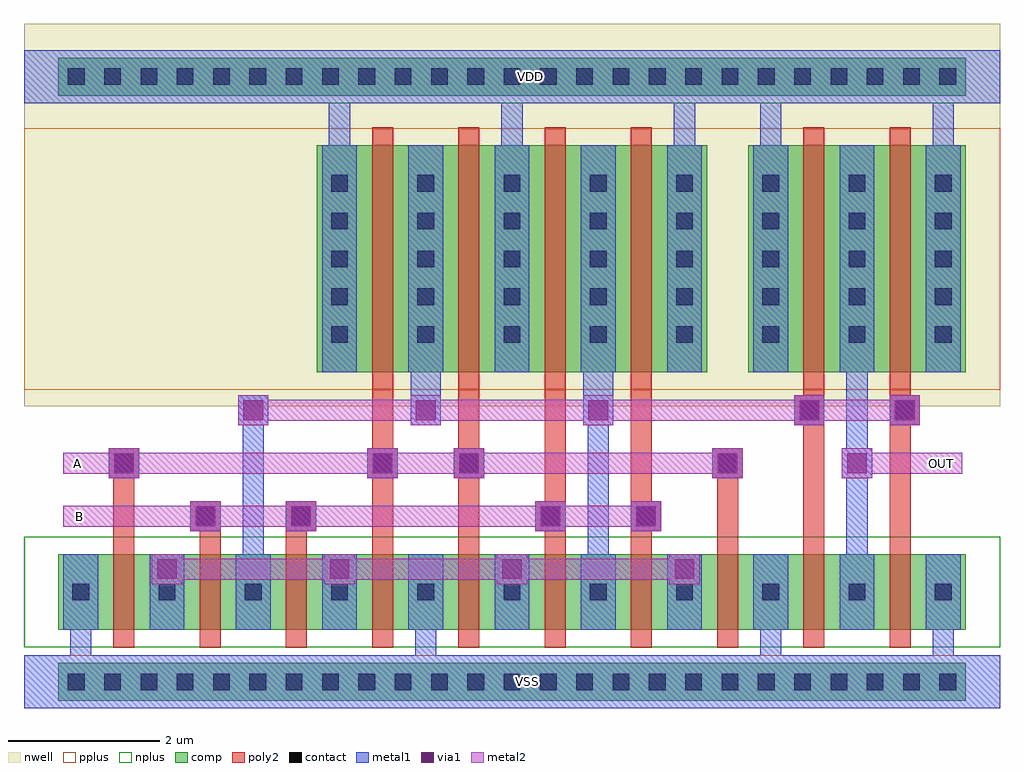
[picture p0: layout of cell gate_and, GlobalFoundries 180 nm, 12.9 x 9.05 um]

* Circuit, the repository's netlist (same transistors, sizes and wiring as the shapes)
** sch_path: /foss/designs/chipathon_2025/designs/gf180/gate_and/xschem/gate_and.sch
.subckt gate_and B VDD VSS OUT A
*.PININFO OUT:O A:I VDD:B VSS:B B:I
MNB OUTN B NX VSS nfet_03v3 L=0.28u W=1u nf=1 m=4
MPB OUTN B VDD VDD pfet_03v3 L=0.28u W=3u nf=1 m=2
MNA NX A VSS VSS nfet_03v3 L=0.28u W=1u nf=1 m=4
MPA OUTN A VDD VDD pfet_03v3 L=0.28u W=3u nf=1 m=2
MIN OUT OUTN VSS VSS nfet_03v3 L=0.28u W=1u nf=1 m=2
MIP OUT OUTN VDD VDD pfet_03v3 L=0.28u W=3u nf=1 m=2
.ends

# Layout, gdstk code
import gdstk
lib = gdstk.Library(unit=1e-6, precision=5e-09)
def R(c, l, rs):  # rectangles x0, y0, x1, y1
    for r in rs: c.add(gdstk.rectangle(r[:2], r[2:], *l))
def A(c, l, x, y, w, h, nx, ny, dx, dy):  # array of equal rectangles
    R(c, l, [(x+i*dx, y+j*dy, x+i*dx+w, y+j*dy+h) for i in range(nx) for j in range(ny)])
nwell = (21, 0)
comp = (22, 0)
poly2 = (30, 0)
pplus = (31, 0)
nplus = (32, 0)
contact = (33, 0)
metal1 = (34, 0)
via1 = (35, 0)
metal2 = (36, 0)

std_cell_frame = lib.new_cell('std_cell_frame')
R(std_cell_frame, nwell, [(0,3.99,3.78,9.05)])
R(std_cell_frame, comp, [(0.45,0.1,3.33,0.6), (0.45,8.1,3.33,8.6)])
R(std_cell_frame, pplus, [(0,0,3.78,0.7), (0,4.21,3.78,7.67)])
R(std_cell_frame, nplus, [(0,0.81,3.78,2.27), (0,8,3.78,8.7)])
A(std_cell_frame, contact, 0.58, 0.24, 0.22, 0.22, 6, 2, 0.48, 8)
std_cell_frame.add(gdstk.FlexPath([(0,0.35),(3.78,0.35)], 0.7, ends="flush", simple_path=True, layer=34, datatype=0))  # metal1
std_cell_frame.add(gdstk.FlexPath([(0,8.35),(3.78,8.35)], 0.7, ends="flush", simple_path=True, layer=34, datatype=0))  # metal1

std_pfet = lib.new_cell('std_pfet')
R(std_pfet, nwell, [(-1.22,-1.86,1.22,1.86)])
R(std_pfet, comp, [(-0.87,-1.5,0.87,1.5)])
R(std_pfet, poly2, [(-0.14,-1.74,0.14,1.74)])
R(std_pfet, pplus, [(-1.1,-1.73,1.1,1.73)])
A(std_pfet, contact, -0.68, -1.11, 0.22, 0.22, 1, 5, 0, 0.5)
A(std_pfet, contact, 0.46, -1.11, 0.22, 0.22, 1, 5, 0, 0.5)
A(std_pfet, metal1, -0.8, -1.23, 0.46, 0.46, 1, 5, 0, 0.5)
A(std_pfet, metal1, 0.34, -1.23, 0.46, 0.46, 1, 5, 0, 0.5)
R(std_pfet, metal1, [(-0.8,-1.5,-0.34,1.5), (0.34,-1.5,0.8,1.5)])

std_pfet_2nf = lib.new_cell('std_pfet_2nf')
R(std_pfet_2nf, nwell, [(-1.79,-1.86,1.79,1.86)])
R(std_pfet_2nf, comp, [(-1.44,-1.5,1.44,1.5)])
R(std_pfet_2nf, poly2, [(-0.71,-1.74,-0.43,1.74), (0.43,-1.74,0.71,1.74)])
R(std_pfet_2nf, pplus, [(-1.67,-1.73,1.67,1.73)])
A(std_pfet_2nf, contact, -1.25, -1.11, 0.22, 0.22, 3, 5, 1.14, 0.5)
A(std_pfet_2nf, metal1, -1.37, -1.5, 0.46, 3, 3, 1, 1.14, 0)
A(std_pfet_2nf, metal1, -1.37, -1.23, 0.46, 0.46, 3, 5, 1.14, 0.5)

via_dev_1 = lib.new_cell('via_dev$1')
R(via_dev_1, metal1, [(0,0,0.4,0.4)])
R(via_dev_1, via1, [(0.07,0.07,0.33,0.33)])
R(via_dev_1, metal2, [(0,0,0.4,0.4)])

std_nfet_2nf = lib.new_cell('std_nfet_2nf')
R(std_nfet_2nf, comp, [(-1.44,-0.5,1.44,0.5)])
R(std_nfet_2nf, poly2, [(-0.71,-0.74,-0.43,0.74), (0.43,-0.74,0.71,0.74)])
R(std_nfet_2nf, nplus, [(-1.67,-0.73,1.67,0.73)])
A(std_nfet_2nf, contact, -1.25, -0.11, 0.22, 0.22, 3, 1, 1.14, 0)
A(std_nfet_2nf, metal1, -1.37, -0.5, 0.46, 1, 3, 1, 1.14, 0)
A(std_nfet_2nf, metal1, -1.37, -0.23, 0.46, 0.46, 3, 1, 1.14, 0)

via_dev = lib.new_cell('via_dev')
R(via_dev, poly2, [(0,0,0.4,0.4)])
R(via_dev, contact, [(0.09,0.09,0.31,0.31)])
R(via_dev, metal1, [(0,0,0.4,0.4)])
R(via_dev, via1, [(0.07,0.07,0.33,0.33)])
R(via_dev, metal2, [(0,0,0.4,0.4)])

gate_and = lib.new_cell('gate_and')
gate_and.add(gdstk.FlexPath([(0.75,2.04),(0.75,0)], 0.28, ends="flush", simple_path=True, layer=34, datatype=0))  # metal1
gate_and.add(gdstk.FlexPath([(5.31,2.04),(5.31,0)], 0.28, ends="flush", simple_path=True, layer=34, datatype=0))  # metal1
gate_and.add(gdstk.FlexPath([(9.87,2.04),(9.87,0)], 0.28, ends="flush", simple_path=True, layer=34, datatype=0))  # metal1
gate_and.add(gdstk.FlexPath([(12.15,2.04),(12.15,0)], 0.28, ends="flush", simple_path=True, layer=34, datatype=0))  # metal1
gate_and.add(gdstk.FlexPath([(5.31,7.44),(5.31,3.74)], 0.4, ends="flush", simple_path=True, layer=34, datatype=0))  # metal1
gate_and.add(gdstk.FlexPath([(7.59,7.44),(7.59,3.74)], 0.4, ends="flush", simple_path=True, layer=34, datatype=0))  # metal1
gate_and.add(gdstk.FlexPath([(4.17,8.7),(4.17,4.44)], 0.28, ends="flush", simple_path=True, layer=34, datatype=0))  # metal1
gate_and.add(gdstk.FlexPath([(6.45,8.7),(6.45,4.44)], 0.28, ends="flush", simple_path=True, layer=34, datatype=0))  # metal1
gate_and.add(gdstk.FlexPath([(8.73,8.7),(8.73,4.44)], 0.28, ends="flush", simple_path=True, layer=34, datatype=0))  # metal1
gate_and.add(gdstk.FlexPath([(9.87,8.7),(9.87,4.44)], 0.28, ends="flush", simple_path=True, layer=34, datatype=0))  # metal1
gate_and.add(gdstk.FlexPath([(12.15,8.7),(12.15,4.44)], 0.28, ends="flush", simple_path=True, layer=34, datatype=0))  # metal1
gate_and.add(gdstk.FlexPath([(3.03,4.14),(3.03,1.04)], 0.28, ends="flush", simple_path=True, layer=34, datatype=0))  # metal1
gate_and.add(gdstk.FlexPath([(7.59,7.44),(7.59,1.04)], 0.28, ends="flush", simple_path=True, layer=34, datatype=0))  # metal1
gate_and.add(gdstk.FlexPath([(11.01,7.44),(11.01,1.04)], 0.28, ends="flush", simple_path=True, layer=34, datatype=0))  # metal1
gate_and.add(gdstk.FlexPath([(4.74,7.68),(4.74,0.8)], 0.28, ends="flush", simple_path=True, layer=30, datatype=0))  # poly2
gate_and.add(gdstk.FlexPath([(5.88,7.68),(5.88,0.8)], 0.28, ends="flush", simple_path=True, layer=30, datatype=0))  # poly2
gate_and.add(gdstk.FlexPath([(7.02,7.68),(7.02,0.8)], 0.28, ends="flush", simple_path=True, layer=30, datatype=0))  # poly2
gate_and.add(gdstk.FlexPath([(8.16,7.68),(8.16,0.8)], 0.28, ends="flush", simple_path=True, layer=30, datatype=0))  # poly2
gate_and.add(gdstk.FlexPath([(10.44,7.68),(10.44,0.8)], 0.28, ends="flush", simple_path=True, layer=30, datatype=0))  # poly2
gate_and.add(gdstk.FlexPath([(11.58,7.68),(11.58,0.8)], 0.28, ends="flush", simple_path=True, layer=30, datatype=0))  # poly2
gate_and.add(gdstk.FlexPath([(1.32,3.44),(1.32,0.8)], 0.28, ends="flush", simple_path=True, layer=30, datatype=0))  # poly2
gate_and.add(gdstk.FlexPath([(9.3,3.44),(9.3,0.8)], 0.28, ends="flush", simple_path=True, layer=30, datatype=0))  # poly2
gate_and.add(gdstk.FlexPath([(2.46,2.74),(2.46,0.8)], 0.28, ends="flush", simple_path=True, layer=30, datatype=0))  # poly2
gate_and.add(gdstk.FlexPath([(3.6,2.74),(3.6,0.8)], 0.28, ends="flush", simple_path=True, layer=30, datatype=0))  # poly2
gate_and.add(gdstk.FlexPath([(0.52,2.54),(8.42,2.54)], 0.28, ends="flush", simple_path=True, layer=36, datatype=0))  # metal2
gate_and.add(gdstk.FlexPath([(2.83,3.94),(11.84,3.94)], 0.28, ends="flush", simple_path=True, layer=36, datatype=0))  # metal2
gate_and.add(gdstk.FlexPath([(10.81,3.24),(12.4,3.24)], 0.28, ends="flush", simple_path=True, layer=36, datatype=0))  # metal2
gate_and.add(gdstk.FlexPath([(1.69,1.84),(8.93,1.84)], 0.28, ends="flush", simple_path=True, layer=36, datatype=0))  # metal2
gate_and.add(gdstk.FlexPath([(0.52,3.24),(9.5,3.24)], 0.28, ends="flush", simple_path=True, layer=36, datatype=0))  # metal2
gate_and.add(gdstk.Reference(std_cell_frame, (0,0)))
gate_and.add(gdstk.Reference(std_cell_frame, (2.4,0)))
gate_and.add(gdstk.Reference(std_cell_frame, (4.8,0)))
gate_and.add(gdstk.Reference(std_cell_frame, (7.2,0)))
gate_and.add(gdstk.Reference(std_cell_frame, (9.12,0)))
gate_and.add(gdstk.Reference(std_pfet, (4.74,5.94)))
gate_and.add(gdstk.Reference(std_pfet, (8.16,5.94)))
gate_and.add(gdstk.Reference(std_pfet_2nf, (6.45,5.94)))
gate_and.add(gdstk.Reference(std_pfet_2nf, (11.01,5.94)))
gate_and.add(gdstk.Reference(via_dev_1, (1.69,1.64)))
gate_and.add(gdstk.Reference(via_dev_1, (3.97,1.64)))
gate_and.add(gdstk.Reference(via_dev_1, (6.25,1.64)))
gate_and.add(gdstk.Reference(via_dev_1, (8.53,1.64)))
gate_and.add(gdstk.Reference(via_dev_1, (10.81,3.04)))
gate_and.add(gdstk.Reference(via_dev_1, (2.83,3.74)))
gate_and.add(gdstk.Reference(via_dev_1, (5.11,3.74)))
gate_and.add(gdstk.Reference(via_dev_1, (7.39,3.74)))
gate_and.add(gdstk.Reference(std_nfet_2nf, (1.89,1.54)))
gate_and.add(gdstk.Reference(std_nfet_2nf, (4.17,1.54)))
gate_and.add(gdstk.Reference(std_nfet_2nf, (6.45,1.54)))
gate_and.add(gdstk.Reference(std_nfet_2nf, (8.73,1.54)))
gate_and.add(gdstk.Reference(std_nfet_2nf, (11.01,1.54)))
gate_and.add(gdstk.Reference(via_dev, (2.2,2.34)))
gate_and.add(gdstk.Reference(via_dev, (3.46,2.34)))
gate_and.add(gdstk.Reference(via_dev, (6.76,2.34)))
gate_and.add(gdstk.Reference(via_dev, (8.02,2.34)))
gate_and.add(gdstk.Reference(via_dev, (1.12,3.04)))
gate_and.add(gdstk.Reference(via_dev, (4.54,3.04)))
gate_and.add(gdstk.Reference(via_dev, (5.68,3.04)))
gate_and.add(gdstk.Reference(via_dev, (9.1,3.04)))
gate_and.add(gdstk.Reference(via_dev, (10.18,3.74)))
gate_and.add(gdstk.Reference(via_dev, (11.44,3.74)))
gate_and.add(gdstk.Label('B', (0.73,2.54), layer=36, texttype=10))
gate_and.add(gdstk.Label('OUT', (12.125,3.24), layer=36, texttype=10))
gate_and.add(gdstk.Label('A', (0.71,3.24), layer=36, texttype=10))
gate_and.add(gdstk.Label('VSS', (6.66,0.35), layer=34, texttype=10))
gate_and.add(gdstk.Label('VDD', (6.69,8.35), layer=34, texttype=10))

lib.write_gds('gate_and.gds')
